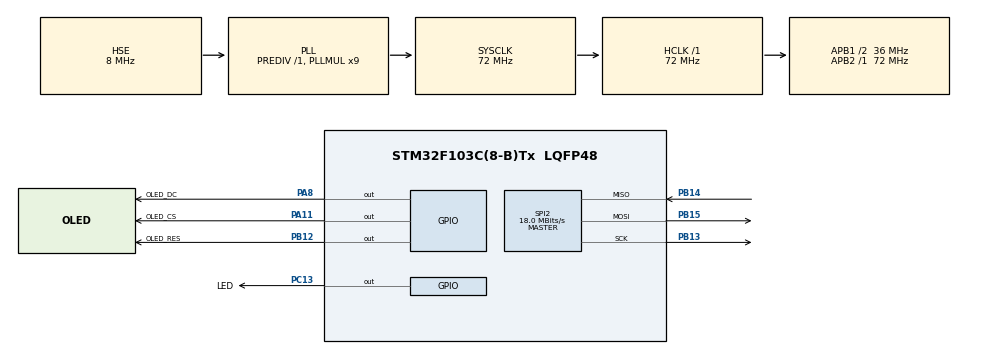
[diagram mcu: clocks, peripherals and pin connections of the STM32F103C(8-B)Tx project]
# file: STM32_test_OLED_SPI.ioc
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Mcu.Family=STM32F1
Mcu.Name=STM32F103C(8-B)Tx
Mcu.Package=LQFP48
NVIC.PriorityGroup=NVIC_PRIORITYGROUP_4
PA11.GPIO_Label=OLED_CS
PA11.GPIO_PuPd=GPIO_PULLUP
PA11.GPIO_Speed=GPIO_SPEED_FREQ_HIGH
PA11.Signal=GPIO_Output
PA13.Mode=Serial_Wire
PA13.Signal=SYS_JTMS-SWDIO
PA14.Mode=Serial_Wire
PA14.Signal=SYS_JTCK-SWCLK
PA8.GPIO_Label=OLED_DC
PA8.GPIO_PuPd=GPIO_PULLUP
PA8.GPIO_Speed=GPIO_SPEED_FREQ_HIGH
PA8.Signal=GPIO_Output
PB12.GPIO_Label=OLED_RES
PB12.GPIO_PuPd=GPIO_NOPULL
PB12.GPIO_Speed=GPIO_SPEED_FREQ_LOW
PB12.PinState=GPIO_PIN_SET
PB12.Signal=GPIO_Output
PB13.Mode=Full_Duplex_Master
PB13.Signal=SPI2_SCK
PB14.Mode=Full_Duplex_Master
PB14.Signal=SPI2_MISO
PB15.Mode=Full_Duplex_Master
PB15.Signal=SPI2_MOSI
PC13-TAMPER-RTC.GPIO_Label=LED
PC13-TAMPER-RTC.GPIO_ModeDefaultOutputPP=GPIO_MODE_OUTPUT_PP
PC13-TAMPER-RTC.PinState=GPIO_PIN_SET
PC13-TAMPER-RTC.Signal=GPIO_Output
PD0-OSC_IN.Mode=HSE-External-Oscillator
PD0-OSC_IN.Signal=RCC_OSC_IN
PD1-OSC_OUT.Mode=HSE-External-Oscillator
PD1-OSC_OUT.Signal=RCC_OSC_OUT
ProjectManager.HeapSize=0x200
ProjectManager.StackSize=0x400
ProjectManager.TargetToolchain=MDK-ARM V5.32
RCC.AHBFreq_Value=72000000
RCC.APB1CLKDivider=RCC_HCLK_DIV2
RCC.APB1Freq_Value=36000000
RCC.APB1TimFreq_Value=72000000
RCC.APB2Freq_Value=72000000
RCC.APB2TimFreq_Value=72000000
RCC.HCLKFreq_Value=72000000
RCC.PLLMUL=RCC_PLL_MUL9
RCC.PLLSourceVirtual=RCC_PLLSOURCE_HSE
RCC.SYSCLKFreq_VALUE=72000000
RCC.SYSCLKSource=RCC_SYSCLKSOURCE_PLLCLK
RCC.USBFreq_Value=72000000
SPI2.CalculateBaudRate=18.0 MBits/s
SPI2.Direction=SPI_DIRECTION_2LINES
SPI2.Mode=SPI_MODE_MASTER
SPI2.VirtualType=VM_MASTER
board=custom

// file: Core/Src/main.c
/* USER CODE BEGIN Header */
/**
  ******************************************************************************
  * @file           : main.c
  * @brief          : Main program body
  ******************************************************************************
  * @attention
  *
  * Copyright (c) 2022 STMicroelectronics.
  * All rights reserved.
  *
  * This software is licensed under terms that can be found in the LICENSE file
  * in the root directory of this software component.
  * If no LICENSE file comes with this software, it is provided AS-IS.
  *
  ******************************************************************************
  */
/* USER CODE END Header */
#include "main.h"
#include "spi.h"
#include "gpio.h"

/* USER CODE BEGIN Includes */
#include "OLED_SPI.h"
#include "bmp.h"
/* USER CODE END Includes */

void SystemClock_Config(void);

int main(void)
{

  /* MCU Configuration--------------------------------------------------------*/

  /* Reset of all peripherals, Initializes the Flash interface and the Systick. */
  HAL_Init();

  /* Configure the system clock */
  SystemClock_Config();

  /* Initialize all configured peripherals */
  MX_GPIO_Init();
  MX_SPI2_Init();
  /* USER CODE BEGIN 2 */
 OLED_DisPlay_On();
 OLED_Init();
 OLED_ColorTurn(0);//0正常显示，1 反色显示
 OLED_DisplayTurn(0);//0正常显示 1 屏幕翻转显示
 //HAL_GPIO_WritePin(OLED_RES_GPIO_Port,OLED_RES_Pin,GPIO_PIN_SET);
 //HAL_GPIO_WritePin(GPIOA,GPIO_PIN_12,GPIO_PIN_RESET);
  /* USER CODE END 2 */

  /* Infinite loop */
  while (1)
  {

    /* USER CODE BEGIN 3 */
//	    HAL_GPIO_TogglePin(LED_GPIO_Port,LED_Pin);
//        OLED_ShowPicture(0,0,128,64,BMP1,1);
		OLED_Refresh();
		HAL_Delay(100);
	    int i = 0,x_pos = 0;
	  for(i = 0;i < 7;i++)  // 邓趁婷门门分数
	  {
		  int num = i;
		  if(i >= 4) num = i - 1;
          OLED_ShowChinese(x_pos,0,num,16,1);
		  x_pos += 16;
	  }
	  OLED_ShowChar(x_pos,0,':',16,1);
	  OLED_ShowString(x_pos + 5,0,"95+",16,1);
	  OLED_Refresh();
	  HAL_Delay(100);
//		OLED_ShowChinese(  0, 0, 0, 16, 1);//中
//		OLED_ShowChinese( 18, 0, 1, 16, 1);//景
//		OLED_ShowChinese( 36, 0, 2, 16, 1);//园
//		OLED_ShowChinese( 54, 0, 4, 16, 1);//子
//		OLED_ShowChinese( 72, 0, 5, 16, 1);//技
//		OLED_ShowChar(90,0,':',16,1);//显示ASCII字符
//		OLED_ShowString(100,0,"95+",16,1);
//		OLED_ShowChinese(  0, 16, 6, 16, 1);//中
//		OLED_ShowChinese( 18, 16, 7, 16, 1);//景
//		OLED_ShowChinese( 36, 16, 8, 16, 1);//园
//		OLED_ShowChinese( 54, 16, 9, 16, 1);//子
//		OLED_ShowChar(72,16,':',16,1);//显示ASCII字符
//		OLED_ShowString(90,16,"650+",16,1);
//		OLED_ShowString(0,32,"computer excellent",12,1);
//		OLED_ShowString(20,32,"2014/05/01",16,1);
//		OLED_ShowString(0,48,"ASCII:",16,1);
//		OLED_ShowString(63,48,"CODE:",16,1);
//
//		OLED_ShowChar(48,48,t,16,1);//显示ASCII字符
//
//		t++;
//		if(t > '~') t = ' ';
//		OLED_ShowNum(103,48,t,3,16,1);
//		OLED_Refresh();
//		HAL_Delay(500);
//		OLED_Clear();
//		OLED_ShowChinese( 0,  0, 0, 16, 1);  //16*16 华
//	    OLED_ShowChinese(16,  0, 1, 16, 1);  //24*24 中
//		OLED_ShowChinese(32,  0, 2, 16, 1);  //32*32 科
//	    OLED_ShowChinese(48,  0, 3, 16, 1);  //64*64 技
//		OLED_ShowChinese(64,  0, 4, 16, 1);  //64*64 大
//		OLED_ShowChinese(80,  0, 5, 16, 1);  //64*64 学
//		OLED_Refresh();
//	    HAL_Delay(500);
//  	    OLED_Clear();
//		OLED_ShowString(0,  0, "HUST",  8, 1);//6*8 “ABC”
//		OLED_ShowString(0,  8, "HUST", 12, 1);//6*12 “ABC”
//	    OLED_ShowString(0, 20, "HUST", 16, 1);//8*16 “ABC”
//		OLED_ShowString(0, 36, "HUST", 24, 1);//12*24 “ABC”
//	    OLED_Refresh();
//		HAL_Delay(500);
//		char *string = "I don\'t want to study!!!!!";
//		OLED_ScrollDisplay_String(0,string,strlen(string),2,1);
		//OLED_ScrollDisplay_Chinese(0,6,1,1);
  }
  /* USER CODE END 3 */
}

void SystemClock_Config(void)
{
  RCC_OscInitTypeDef RCC_OscInitStruct = {0};
  RCC_ClkInitTypeDef RCC_ClkInitStruct = {0};

  /** Initializes the RCC Oscillators according to the specified parameters
  * in the RCC_OscInitTypeDef structure.
  */
  RCC_OscInitStruct.OscillatorType = RCC_OSCILLATORTYPE_HSE;
  RCC_OscInitStruct.HSEState = RCC_HSE_ON;
  RCC_OscInitStruct.HSEPredivValue = RCC_HSE_PREDIV_DIV1;
  RCC_OscInitStruct.HSIState = RCC_HSI_ON;
  RCC_OscInitStruct.PLL.PLLState = RCC_PLL_ON;
  RCC_OscInitStruct.PLL.PLLSource = RCC_PLLSOURCE_HSE;
  RCC_OscInitStruct.PLL.PLLMUL = RCC_PLL_MUL9;
  if (HAL_RCC_OscConfig(&RCC_OscInitStruct) != HAL_OK)
  {
    Error_Handler();
  }

  /** Initializes the CPU, AHB and APB buses clocks
  */
  RCC_ClkInitStruct.ClockType = RCC_CLOCKTYPE_HCLK|RCC_CLOCKTYPE_SYSCLK
                              |RCC_CLOCKTYPE_PCLK1|RCC_CLOCKTYPE_PCLK2;
  RCC_ClkInitStruct.SYSCLKSource = RCC_SYSCLKSOURCE_PLLCLK;
  RCC_ClkInitStruct.AHBCLKDivider = RCC_SYSCLK_DIV1;
  RCC_ClkInitStruct.APB1CLKDivider = RCC_HCLK_DIV2;
  RCC_ClkInitStruct.APB2CLKDivider = RCC_HCLK_DIV1;

  if (HAL_RCC_ClockConfig(&RCC_ClkInitStruct, FLASH_LATENCY_2) != HAL_OK)
  {
    Error_Handler();
  }
}

void Error_Handler(void)
{
  __disable_irq();
  while (1)
  {
  }
}
